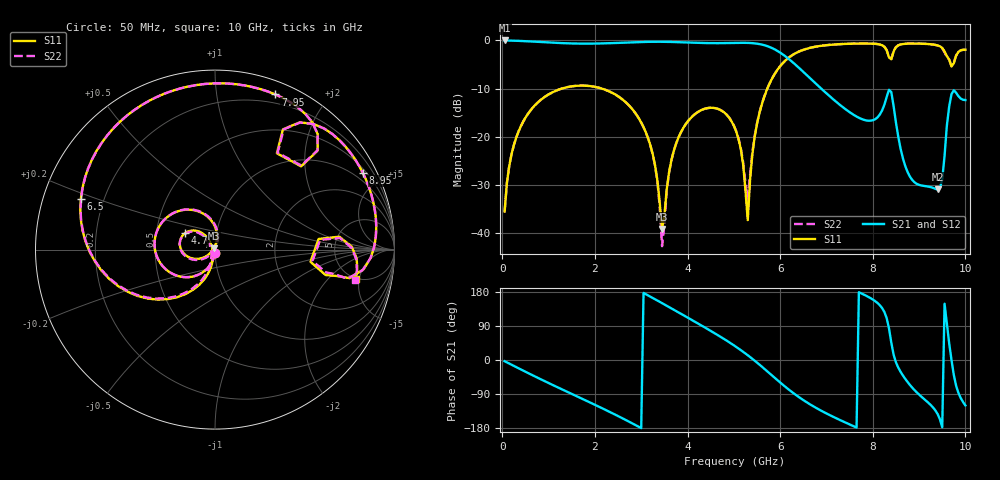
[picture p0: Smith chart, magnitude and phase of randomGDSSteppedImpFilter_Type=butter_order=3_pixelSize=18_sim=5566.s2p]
! freq	dB(S11)	phase(S11)	dB(S12)	phase(S12)
!  dB(S21)	phase(S21)	dB(S22)	phase(S22)
!S-par simulation data
#  GHz  S  DB  R 50
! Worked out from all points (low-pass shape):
!   200 points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, 50 MHz to 10 GHz, reference 50 ohm
!   highest |S21| = -0.01 dB at 50 MHz (marker M1); lowest = -30.9 dB at 9.4 GHz (marker M2)
!   |S21| within 3 dB of the highest: start of sweep to 6.072 GHz
!   lowest |S11| = -39.1 dB at 3.45 GHz (marker M3), VSWR 1.02, Z = 49.2 + j0.751 ohm
!   |S11| at or under -10 dB: start of sweep to 1.279 GHz; 2.156 GHz to 5.724 GHz (3.567 GHz wide, 90.6 % of centre)
!   |S22| runs from -42.6 to -0.6 dB; largest |S21 - S12| = 0
!   S11 on the Smith chart (normalised r, x): 50 MHz: 1.00, -0.03; 4.7 GHz: 0.70, +0.13; 6.5 GHz: 0.12, +0.18; 7.95 GHz: 0.12, +1.46; 8.95 GHz: 0.65, +3.99; 10 GHz: 4.87, -4.45
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0.05  -35.48 -92.9  -0.01 -3.2  -0.01 -3.2  -35.48 -92.9
0.2  -23.57 -102.7  -0.04 -12.5  -0.04 -12.5  -23.57 -102.7
0.5  -16.02 -121.4  -0.15 -31.0  -0.15 -31.0  -16.02 -121.5
1.75  -9.36 165.9  -0.67 -103.8  -0.67 -103.8  -9.36 165.6
2.95  -16.18 95.6  -0.34 -176.4  -0.34 -176.4  -16.20 93.8
3.4  -33.72 89.7  -0.28 153.5  -0.28 153.5  -34.56 71.0
3.45  -39.06 136.7  -0.28 150.0  -0.28 150.0  -42.65 143.4
3.6  -27.39 -142.2  -0.30 139.8  -0.30 139.8  -27.53 -133.3
3.8  -20.22 -149.2  -0.36 126.0  -0.36 126.0  -20.24 -145.1
4.7  -14.38 151.7  -0.56 62.2  -0.56 62.2  -14.37 154.2
5.05  -18.86 127.4  -0.51 34.6  -0.51 34.6  -18.79 132.0
5.3  -37.24 -159.4  -0.51 12.6  -0.51 12.6  -32.82 -162.9
5.4  -23.56 -102.0  -0.56 3.1  -0.56 3.1  -23.18 -109.5
5.65  -11.86 -118.7  -0.97 -22.2  -0.97 -22.2  -11.82 -120.7
6.5  -1.95 159.4  -6.51 -105.8  -6.51 -105.8  -1.95 159.1
6.7  -1.42 143.9  -8.32 -121.1  -8.32 -121.1  -1.42 143.7
7.95  -0.65 68.8  -16.63 163.3  -16.63 163.3  -0.65 68.8
8.35  -3.51 44.0  -10.24 83.5  -10.24 83.5  -3.46 44.2
8.95  -0.65 27.5  -29.73 -85.5  -29.73 -85.5  -0.65 27.3
9.4  -1.04 1.1  -30.89 -142.6  -30.89 -142.6  -1.05 0.7
9.7  -5.41 -7.3  -11.13 -0.1  -11.13 -0.1  -5.24 -6.7
10  -1.93 -11.8  -12.35 -119.8  -12.35 -119.8  -1.96 -12.3
